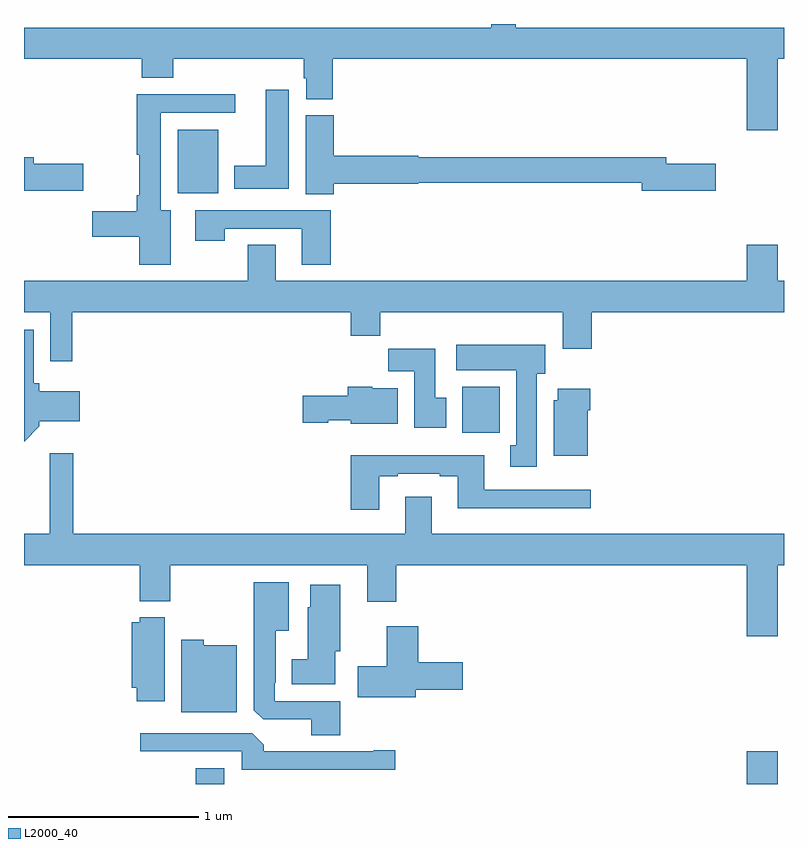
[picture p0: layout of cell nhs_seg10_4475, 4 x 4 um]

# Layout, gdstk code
import gdstk
lib = gdstk.Library(unit=1e-6, precision=1e-09)
def R(c, l, rs):  # rectangles x0, y0, x1, y1
    for r in rs: c.add(gdstk.rectangle(r[:2], r[2:], *l))
def P(c, l, *ps):  # polygons
    for p in ps: c.add(gdstk.Polygon(p, *l))
L2000_40 = (2000, 40)

nhs_seg10_4475 = lib.new_cell('nhs_seg10_4475')
R(nhs_seg10_4475, L2000_40, [(365.903,1296.5,366.055,1296.583), (368.804,1296.5,368.968,1296.673), (367.307,1298.348,367.504,1298.59), (365.81,1299.608,366.022,1299.943)])
P(nhs_seg10_4475, L2000_40, [(368.968,1300.316),(369,1300.316),(369,1300.48),(367.588,1300.48),(367.588,1300.5),(367.459,1300.5),(367.459,1300.48),(365,1300.48),(365,1300.316),(365.621,1300.316),(365.621,1300.217),(365.786,1300.217),(365.786,1300.316),(366.473,1300.316),(366.473,1300.215),(366.485,1300.215),(366.485,1300.105),(366.626,1300.105),(366.626,1300.316),(368.804,1300.316),(368.804,1299.942),(368.968,1299.942)],
  [(366.394,1300.153),(366.272,1300.153),(366.272,1299.754),(366.107,1299.754),(366.107,1299.632),(366.394,1299.632)],
  [(365.773,1299.52),(365.719,1299.52),(365.719,1300.032),(366.112,1300.032),(366.112,1300.13),(365.594,1300.13),(365.594,1299.812),(365.606,1299.812),(365.606,1299.598),(365.594,1299.598),(365.594,1299.515),(365.358,1299.515),(365.358,1299.38),(365.606,1299.38),(365.606,1299.234),(365.773,1299.234)],
  [(366.629,1299.659),(367.074,1299.659),(367.074,1299.664),(368.252,1299.664),(368.252,1299.622),(368.641,1299.622),(368.641,1299.764),(368.38,1299.764),(368.38,1299.8),(367.074,1299.8),(367.074,1299.806),(366.629,1299.806),(366.629,1300.02),(366.482,1300.02),(366.482,1299.604),(366.629,1299.604)],
  [(365.311,1299.764),(365.05,1299.764),(365.05,1299.8),(365,1299.8),(365,1299.622),(365.311,1299.622)],
  [(366.614,1299.519),(365.901,1299.519),(365.901,1299.36),(366.057,1299.36),(366.057,1299.423),(366.461,1299.423),(366.461,1299.234),(366.614,1299.234)],
  [(366.325,1299.338),(366.178,1299.338),(366.178,1299.148),(365,1299.148),(365,1298.984),(365.139,1298.984),(365.139,1298.724),(365.255,1298.724),(365.255,1298.984),(366.719,1298.984),(366.719,1298.86),(366.875,1298.86),(366.875,1298.984),(367.835,1298.984),(367.835,1298.79),(367.988,1298.79),(367.988,1298.984),(369,1298.984),(369,1299.148),(368.968,1299.148),(368.968,1299.337),(368.804,1299.337),(368.804,1299.148),(366.325,1299.148)],
  [(365.081,1298.382),(365.081,1298.408),(365.293,1298.408),(365.293,1298.566),(365.081,1298.566),(365.081,1298.61),(365.05,1298.61),(365.05,1298.89),(365,1298.89),(365,1298.301)],
  [(367.699,1298.658),(367.744,1298.658),(367.744,1298.812),(367.275,1298.812),(367.275,1298.678),(367.592,1298.678),(367.592,1298.282),(367.559,1298.282),(367.559,1298.169),(367.699,1298.169)],
  [(367.222,1298.532),(367.165,1298.532),(367.165,1298.791),(366.916,1298.791),(366.916,1298.672),(367.055,1298.672),(367.055,1298.376),(367.222,1298.376)],
  [(366.967,1298.584),(366.834,1298.584),(366.834,1298.59),(366.704,1298.59),(366.704,1298.544),(366.468,1298.544),(366.468,1298.402),(366.6,1298.402),(366.6,1298.414),(366.72,1298.414),(366.72,1298.396),(366.967,1298.396)],
  [(367.966,1298.468),(367.979,1298.468),(367.979,1298.581),(367.808,1298.581),(367.808,1298.52),(367.787,1298.52),(367.787,1298.228),(367.966,1298.228)],
  [(368.968,1297.652),(369,1297.652),(369,1297.816),(367.147,1297.816),(367.147,1298.011),(367.007,1298.011),(367.007,1297.816),(365.258,1297.816),(365.258,1298.242),(365.135,1298.242),(365.135,1297.816),(365,1297.816),(365,1297.652),(365.609,1297.652),(365.609,1297.463),(365.769,1297.463),(365.769,1297.652),(366.806,1297.652),(366.806,1297.458),(366.959,1297.458),(366.959,1297.652),(368.804,1297.652),(368.804,1297.278),(368.968,1297.278)],
  [(366.871,1298.121),(366.967,1298.121),(366.967,1298.133),(367.187,1298.133),(367.187,1298.121),(367.283,1298.121),(367.283,1297.952),(367.984,1297.952),(367.984,1298.049),(367.423,1298.049),(367.423,1298.23),(366.719,1298.23),(366.719,1297.944),(366.871,1297.944)],
  [(366.665,1296.936),(366.321,1296.936),(366.321,1297.033),(366.325,1297.033),(366.325,1297.307),(366.394,1297.307),(366.394,1297.561),(366.209,1297.561),(366.209,1296.889),(366.258,1296.84),(366.512,1296.84),(366.512,1296.757),(366.665,1296.757)],
  [(366.637,1297.2),(366.664,1297.2),(366.664,1297.549),(366.506,1297.549),(366.506,1297.431),(366.494,1297.431),(366.494,1297.156),(366.41,1297.156),(366.41,1297.025),(366.637,1297.025)],
  [(365.74,1297.378),(365.61,1297.378),(365.61,1297.351),(365.567,1297.351),(365.567,1297.007),(365.594,1297.007),(365.594,1296.936),(365.74,1296.936)],
  [(367.063,1296.995),(367.309,1296.995),(367.309,1297.142),(367.076,1297.142),(367.076,1297.33),(366.908,1297.33),(366.908,1297.119),(366.756,1297.119),(366.756,1296.956),(367.063,1296.956)],
  [(366.121,1297.231),(365.946,1297.231),(365.946,1297.258),(365.828,1297.258),(365.828,1296.878),(366.121,1296.878)],
  [(366.955,1296.677),(366.842,1296.677),(366.842,1296.672),(366.263,1296.672),(366.263,1296.706),(366.201,1296.768),(365.613,1296.768),(365.613,1296.672),(366.147,1296.672),(366.147,1296.576),(366.955,1296.576)])

lib.write_gds('nhs_seg10_4475.gds')
